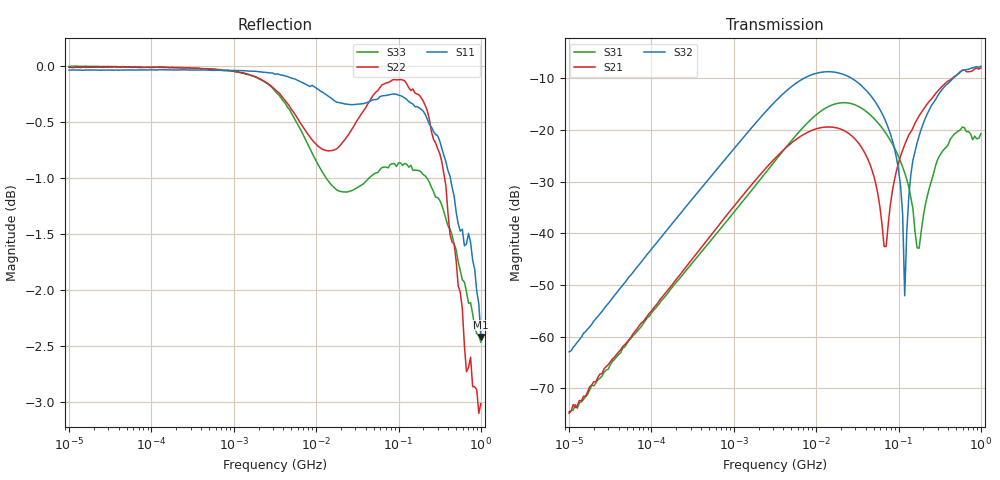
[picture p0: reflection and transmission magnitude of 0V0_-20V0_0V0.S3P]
!Keysight Technologies,E5080A,MY55100144,A.11.70.03
!Date: Monday, November 13, 2017 17:21:42
!Correction: S11(Full 3 Port(1,2,3))
!S12(Full 3 Port(1,2,3))
!S13(Full 3 Port(1,2,3))
!S21(Full 3 Port(1,2,3))
!S22(Full 3 Port(1,2,3))
!S23(Full 3 Port(1,2,3))
!S31(Full 3 Port(1,2,3))
!S32(Full 3 Port(1,2,3))
!S33(Full 3 Port(1,2,3))
!S3P File: Measurements: <S11,S12,S13>,
!<S21,S22,S23>,
!<S31,S32,S33>:Log Frequency Sweep
# Hz S  RI  R 50
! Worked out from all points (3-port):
!   201 points, 10 kHz to 1 GHz, reference 50 ohm
!   strongest paths, dB at 10 kHz, 177.8 kHz, 3.162 MHz, 56.23 MHz, 1 GHz:
!     S32: -63.0, -38.1, -14.5, -15.4, -7.7
!     S21: -74.8, -50.0, -25.5, -32.5, -8.0
!     S31: -74.6, -50.5, -26.0, -18.6, -20.8
!   lowest |S11| = -2.4 dB at 1 GHz (marker M1), VSWR 7.23, Z = 361 + j12.1 ohm
!   |S11| at or under -10 dB: nowhere
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10000  0.9961 -0.000907  1.97e-05 0.000187  -8.14e-06 0.000188
       3.73e-06 0.000181  0.999 -0.0033  -4.24e-06 0.000699
       1.58e-05 0.000186  1.44e-05 0.000711  0.9999 -0.00242
3162278  0.9116 -0.3912  0.0257 0.0464  0.0131 0.0483
         0.0256 0.0465  0.684 -0.6969  0.098 0.1597
         0.0131 0.0483  0.0982 0.1596  0.9348 -0.2763
1.496236e7  0.0204 -0.968  0.1066 0.00131  0.1619 0.0579
            0.1066 0.00124  -0.5488 -0.7344  0.3642 -0.0273
            0.162 0.0576  0.3642 -0.0272  0.4149 -0.7829
5.308844e7  -0.8788 -0.4021  0.0188 -0.0231  0.0727 -0.0996
            0.0188 -0.0231  -0.9691 -0.096  0.0795 -0.1646
            0.0726 -0.0996  0.0794 -0.1645  -0.6166 -0.6502
7.079458e7  -0.9449 -0.2215  0.00569 0.00492  0.0344 -0.0851
            0.00565 0.00489  -0.9808 0.0663  0.0271 -0.1146
            0.0343 -0.0852  0.0271 -0.1146  -0.7713 -0.4666
1e8  -0.9708 -0.011  0.00769 0.0472  0.00723 -0.0549
     0.00771 0.0473  -0.9483 0.2712  -0.000413 -0.0412
     0.00716 -0.0549  -0.000426 -0.0411  -0.8762 -0.2284
1.188502e8  -0.9632 0.0967  0.0182 0.0694  0.00146 -0.0385
            0.0183 0.0695  -0.9083 0.3815  -9.35e-05 -0.00249
            0.00145 -0.0384  -8.42e-05 -0.00248  -0.8989 -0.1049
1.883649e8  -0.8737 0.3902  0.0828 0.1211  0.0103 0.00187
            0.083 0.1212  -0.6933 0.6758  0.0523 0.0866
            0.0102 0.00194  0.0523 0.0866  -0.8677 0.2274
5.956621e8  0.178 0.8266  0.3085 -0.2188  0.0546 -0.0915
            0.3085 -0.2194  0.6234 0.467  0.3256 -0.189
            0.0546 -0.0915  0.3254 -0.1886  0.0107 0.8026
1e9  0.7569 0.00715  -0.0933 -0.3864  -0.0565 -0.0719
     -0.0938 -0.3863  0.5909 -0.3879  -0.0447 -0.4109
     -0.0565 -0.0719  -0.0445 -0.411  0.6861 0.3099
